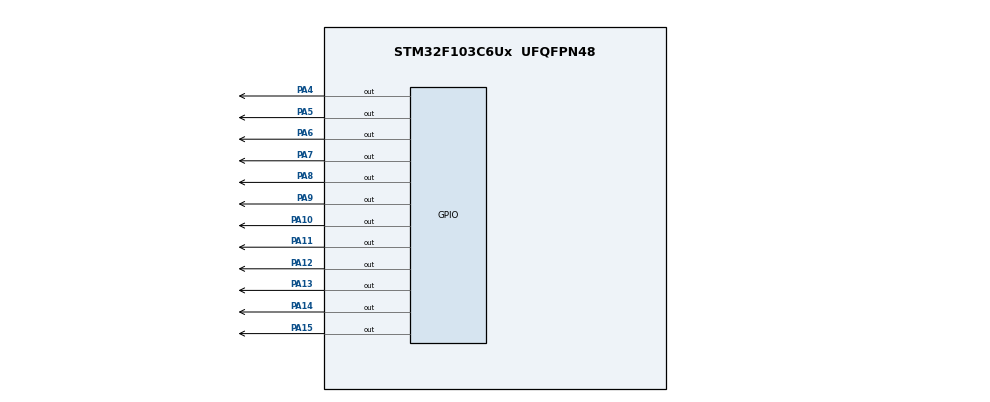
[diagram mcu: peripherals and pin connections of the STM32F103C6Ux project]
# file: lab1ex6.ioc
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Mcu.Family=STM32F1
Mcu.Name=STM32F103C6Ux
Mcu.Package=UFQFPN48
NVIC.PriorityGroup=NVIC_PRIORITYGROUP_4
PA10.Signal=GPIO_Output
PA11.Signal=GPIO_Output
PA12.Signal=GPIO_Output
PA13.Signal=GPIO_Output
PA14.Signal=GPIO_Output
PA15.Signal=GPIO_Output
PA4.Signal=GPIO_Output
PA5.Signal=GPIO_Output
PA6.Signal=GPIO_Output
PA7.Signal=GPIO_Output
PA8.Signal=GPIO_Output
PA9.Signal=GPIO_Output
ProjectManager.HeapSize=0x200
ProjectManager.StackSize=0x400
ProjectManager.TargetToolchain=STM32CubeIDE
RCC.APB1Freq_Value=8000000
RCC.APB2Freq_Value=8000000
VP_SYS_VS_ND.Mode=No_Debug
board=custom

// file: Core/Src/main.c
/* USER CODE BEGIN Header */
/**
  ******************************************************************************
  * @file           : main.c
  * @brief          : Main program body
  ******************************************************************************
  * @attention
  *
  * <h2><center>&copy; Copyright (c) 2026 STMicroelectronics.
  * All rights reserved.</center></h2>
  *
  * This software component is licensed by ST under BSD 3-Clause license,
  * the "License"; You may not use this file except in compliance with the
  * License. You may obtain a copy of the License at:
  *                        opensource.org/licenses/BSD-3-Clause
  *
  ******************************************************************************
  */
/* USER CODE END Header */
#include "main.h"

void SystemClock_Config(void);
static void MX_GPIO_Init(void);

int main(void)
{

  /* MCU Configuration--------------------------------------------------------*/

  /* Reset of all peripherals, Initializes the Flash interface and the Systick. */
  HAL_Init();

  /* Configure the system clock */
  SystemClock_Config();

  /* Initialize all configured peripherals */
  MX_GPIO_Init();
  /* USER CODE BEGIN 2 */
  uint16_t clock_leds[12] = {
      GPIO_PIN_4, GPIO_PIN_5, GPIO_PIN_6, GPIO_PIN_7,
      GPIO_PIN_8, GPIO_PIN_9, GPIO_PIN_10, GPIO_PIN_11,
      GPIO_PIN_12, GPIO_PIN_13, GPIO_PIN_14, GPIO_PIN_15
  };
  int led_index = 0;
  /* USER CODE END 2 */

  /* Infinite loop */
  while (1)
  {

    /* USER CODE BEGIN 3 */
    HAL_GPIO_WritePin(GPIOA,
        GPIO_PIN_4|GPIO_PIN_5|GPIO_PIN_6|GPIO_PIN_7|
        GPIO_PIN_8|GPIO_PIN_9|GPIO_PIN_10|GPIO_PIN_11|
        GPIO_PIN_12|GPIO_PIN_13|GPIO_PIN_14|GPIO_PIN_15,
        GPIO_PIN_RESET);

    HAL_GPIO_WritePin(GPIOA, clock_leds[led_index], GPIO_PIN_SET);

    led_index++;
    if (led_index >= 12) {
        led_index = 0;
    }

    HAL_Delay(500);
  }
  /* USER CODE END 3 */
}

void SystemClock_Config(void)
{
  RCC_OscInitTypeDef RCC_OscInitStruct = {0};
  RCC_ClkInitTypeDef RCC_ClkInitStruct = {0};

  /** Initializes the RCC Oscillators according to the specified parameters
  * in the RCC_OscInitTypeDef structure.
  */
  RCC_OscInitStruct.OscillatorType = RCC_OSCILLATORTYPE_HSI;
  RCC_OscInitStruct.HSIState = RCC_HSI_ON;
  RCC_OscInitStruct.HSICalibrationValue = RCC_HSICALIBRATION_DEFAULT;
  RCC_OscInitStruct.PLL.PLLState = RCC_PLL_NONE;
  if (HAL_RCC_OscConfig(&RCC_OscInitStruct) != HAL_OK)
  {
    Error_Handler();
  }
  /** Initializes the CPU, AHB and APB buses clocks
  */
  RCC_ClkInitStruct.ClockType = RCC_CLOCKTYPE_HCLK|RCC_CLOCKTYPE_SYSCLK
                              |RCC_CLOCKTYPE_PCLK1|RCC_CLOCKTYPE_PCLK2;
  RCC_ClkInitStruct.SYSCLKSource = RCC_SYSCLKSOURCE_HSI;
  RCC_ClkInitStruct.AHBCLKDivider = RCC_SYSCLK_DIV1;
  RCC_ClkInitStruct.APB1CLKDivider = RCC_HCLK_DIV1;
  RCC_ClkInitStruct.APB2CLKDivider = RCC_HCLK_DIV1;

  if (HAL_RCC_ClockConfig(&RCC_ClkInitStruct, FLASH_LATENCY_0) != HAL_OK)
  {
    Error_Handler();
  }
}

static void MX_GPIO_Init(void)
{
  GPIO_InitTypeDef GPIO_InitStruct = {0};

  /* GPIO Ports Clock Enable */
  __HAL_RCC_GPIOA_CLK_ENABLE();

  /*Configure GPIO pin Output Level */
  HAL_GPIO_WritePin(GPIOA, GPIO_PIN_4|GPIO_PIN_5|GPIO_PIN_6|GPIO_PIN_7
                          |GPIO_PIN_8|GPIO_PIN_9|GPIO_PIN_10|GPIO_PIN_11
                          |GPIO_PIN_12|GPIO_PIN_13|GPIO_PIN_14|GPIO_PIN_15, GPIO_PIN_RESET);

  /*Configure GPIO pins : PA4 PA5 PA6 PA7
                           PA8 PA9 PA10 PA11
                           PA12 PA13 PA14 PA15 */
  GPIO_InitStruct.Pin = GPIO_PIN_4|GPIO_PIN_5|GPIO_PIN_6|GPIO_PIN_7
                          |GPIO_PIN_8|GPIO_PIN_9|GPIO_PIN_10|GPIO_PIN_11
                          |GPIO_PIN_12|GPIO_PIN_13|GPIO_PIN_14|GPIO_PIN_15;
  GPIO_InitStruct.Mode = GPIO_MODE_OUTPUT_PP;
  GPIO_InitStruct.Pull = GPIO_NOPULL;
  GPIO_InitStruct.Speed = GPIO_SPEED_FREQ_LOW;
  HAL_GPIO_Init(GPIOA, &GPIO_InitStruct);

}

void Error_Handler(void)
{
  __disable_irq();
  while (1)
  {
  }
}

/************************ (C) COPYRIGHT STMicroelectronics *****END OF FILE****/
